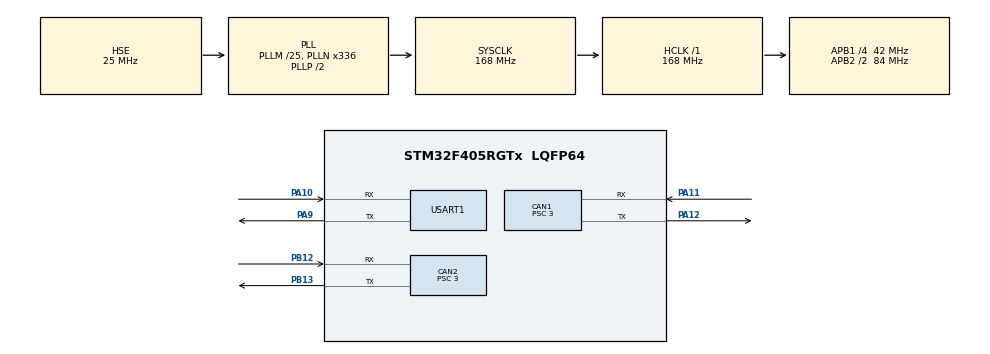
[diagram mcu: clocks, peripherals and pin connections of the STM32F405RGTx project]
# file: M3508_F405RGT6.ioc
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CAN1.BS1=CAN_BS1_10TQ
CAN1.BS2=CAN_BS2_3TQ
CAN1.CalculateBaudRate=1000000
CAN1.CalculateTimeBit=1000
CAN1.CalculateTimeQuantum=71.42857142857143
CAN1.Prescaler=3
CAN2.BS1=CAN_BS1_10TQ
CAN2.BS2=CAN_BS2_3TQ
CAN2.CalculateBaudRate=1000000
CAN2.CalculateTimeBit=1000
CAN2.CalculateTimeQuantum=71.42857142857143
CAN2.Prescaler=3
Mcu.Family=STM32F4
Mcu.Name=STM32F405RGTx
Mcu.Package=LQFP64
NVIC.CAN1_RX0_IRQn=true\:0\:0\:false\:false\:true\:true\:true\:true
NVIC.PriorityGroup=NVIC_PRIORITYGROUP_4
NVIC.TIM1_UP_TIM10_IRQn=true\:15\:0\:false\:false\:true\:false\:true\:true
NVIC.TimeBase=TIM1_UP_TIM10_IRQn
NVIC.TimeBaseIP=TIM1
NVIC.USART1_IRQn=true\:0\:0\:false\:false\:true\:true\:true\:true
PA10.Mode=Asynchronous
PA10.Signal=USART1_RX
PA11.Mode=CAN_Activate
PA11.Signal=CAN1_RX
PA12.Mode=CAN_Activate
PA12.Signal=CAN1_TX
PA13.Mode=Serial_Wire
PA13.Signal=SYS_JTMS-SWDIO
PA14.Mode=Serial_Wire
PA14.Signal=SYS_JTCK-SWCLK
PA9.Mode=Asynchronous
PA9.Signal=USART1_TX
PB12.Mode=CAN_Activate
PB12.Signal=CAN2_RX
PB13.Mode=CAN_Activate
PB13.Signal=CAN2_TX
PH0-OSC_IN.Mode=HSE-External-Oscillator
PH0-OSC_IN.Signal=RCC_OSC_IN
PH1-OSC_OUT.Mode=HSE-External-Oscillator
PH1-OSC_OUT.Signal=RCC_OSC_OUT
ProjectManager.HeapSize=0x200
ProjectManager.StackSize=0x400
ProjectManager.TargetToolchain=STM32CubeIDE
RCC.48MHZClocksFreq_Value=84000000
RCC.AHBFreq_Value=168000000
RCC.APB1CLKDivider=RCC_HCLK_DIV4
RCC.APB1Freq_Value=42000000
RCC.APB1TimFreq_Value=84000000
RCC.APB2CLKDivider=RCC_HCLK_DIV2
RCC.APB2Freq_Value=84000000
RCC.APB2TimFreq_Value=168000000
RCC.CortexFreq_Value=168000000
RCC.HCLKFreq_Value=168000000
RCC.HSE_VALUE=25000000
RCC.HSI_VALUE=16000000
RCC.LSE_VALUE=32768
RCC.PLLM=25
RCC.PLLN=336
RCC.PLLSourceVirtual=RCC_PLLSOURCE_HSE
RCC.SYSCLKFreq_VALUE=168000000
RCC.SYSCLKSource=RCC_SYSCLKSOURCE_PLLCLK
RCC.VCOOutputFreq_Value=336000000
USART1.VirtualMode=VM_ASYNC
VP_SYS_VS_tim1.Mode=TIM1
board=custom

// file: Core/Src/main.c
/* USER CODE BEGIN Header */
/**
  ******************************************************************************
  * @file           : main.c
  * @brief          : Main program body
  ******************************************************************************
  * @attention
  *
  * Copyright (c) 2023 STMicroelectronics.
  * All rights reserved.
  *
  * This software is licensed under terms that can be found in the LICENSE file
  * in the root directory of this software component.
  * If no LICENSE file comes with this software, it is provided AS-IS.
  *
  ******************************************************************************
  */
/* USER CODE END Header */
#include "main.h"
#include "can.h"
#include "usart.h"
#include "gpio.h"

/* USER CODE BEGIN Includes */
#include "PID.h"
#include "CAN_Recv.h"
#include "math.h"
#include "ADRC.h"
#define PI 3.1415
/* USER CODE END Includes */

void SystemClock_Config(void);

/* USER CODE BEGIN 0 */

//目标角度
float target_pos=420;
//目标速度
float target_spd=1000;
//速度环pid参数
float kp_speed=0.25;
float ki_speed=0.025;
float kd_speed=1;
//位置环pid参数
float kp_angle=5;
float ki_angle=0;
float kd_angle=0;

/* USER CODE END 0 */

int main(void)
{
  /* USER CODE BEGIN 1 */

//    float x[49]={0,PI/24,PI/12,3*PI/24,2*PI/12,5*PI/24,3*PI/12,7*PI/24,4*PI/12,9*PI/24,
//                 5*PI/12,11*PI/24,6*PI/12,13*PI/24,7*PI/12,15*PI/24,8*PI/12,17*PI/24,9*PI/12,
//                 19*PI/24,10*PI/12,21*PI/24,11*PI/12,23*PI/24,PI,25*PI/24,13*PI/12,27*PI/24,
//                 14*PI/12,29*PI/24,15*PI/12,31*PI/24,16*PI/12,33*PI/24,17*PI/12,35*PI/24,18*PI/12,
//                 37*PI/24,19*PI/12,39*PI/24,20*PI/12,41*PI/24,21*PI/12,43*PI/24,22*PI/12,45*PI/24,
//                 23*PI/12,47*PI/24,24*PI/12};

//      for(int i=0;i<49;i++)
//      {
//          target_vofa=2000*sin(x[i]);
//      }
  /* USER CODE END 1 */

  /* MCU Configuration--------------------------------------------------------*/

  /* Reset of all peripherals, Initializes the Flash interface and the Systick. */
  HAL_Init();

  /* Configure the system clock */
  SystemClock_Config();

  /* Initialize all configured peripherals */
  MX_GPIO_Init();
  MX_CAN1_Init();
  MX_CAN2_Init();
  MX_USART1_UART_Init();
  /* USER CODE BEGIN 2 */
  can_filter_init();

  /** ADRC算法参数设定 **/
  setCtrlParm(&ADRC_Ctrl,80,320,15,0.2);
  setClampParm(&ADRC_Ctrl,16383,-16383);

/*************************************/
  /** 调正弦曲线数学公式 **/
  int32_t time_ms=0;
  int32_t time_s=0;
  float spd=0;
  float w=2.0;    //(1.884~2.000)
  float a=1.0;    //(0.780~1.045)
  float b = 2.090 - a;
  time_ms = HAL_GetTick();//获取系统时间，单位ms
  time_s = (int) time_ms * pow(10,-3);

  spd = (a * sin(w * time_s) + b* 9.55); //单位换算成RPM
  // 1圈（Revolutions） = 2 * 3.1415弧度（Rad）
  // 1 Rad/sec = 60*1/(2*3.1415) Rev/min = 9.55 RPM
/*************************************/

  /* USER CODE END 2 */

  /* Infinite loop */
  /* USER CODE BEGIN WHILE */
  while (1)
  {
      /** Task1 Speed Loop **/
      //Pid_Speed(target_spd,target_spd,target_spd,target_spd);

      /** Task2 Pos Loop  **/
      //Pid_RM(target_pos,target_pos,target_pos,target_pos);

      /** Task3 ADRC Loop **/
      ADRC_Speed(target_spd,target_spd,target_spd,target_spd);

      /** Task4 Printf    **/
      usart_printf("%.0f,%.0f,%.0f,%.0f\r\n",target_spd,pid_rpm[0].measure,pid_rpm[0].measure,pid_rpm[0].output);
    /* USER CODE END WHILE */

  }
}

void SystemClock_Config(void)
{
  RCC_OscInitTypeDef RCC_OscInitStruct = {0};
  RCC_ClkInitTypeDef RCC_ClkInitStruct = {0};

  /** Configure the main internal regulator output voltage
  */
  __HAL_RCC_PWR_CLK_ENABLE();
  __HAL_PWR_VOLTAGESCALING_CONFIG(PWR_REGULATOR_VOLTAGE_SCALE1);

  /** Initializes the RCC Oscillators according to the specified parameters
  * in the RCC_OscInitTypeDef structure.
  */
  RCC_OscInitStruct.OscillatorType = RCC_OSCILLATORTYPE_HSE;
  RCC_OscInitStruct.HSEState = RCC_HSE_ON;
  RCC_OscInitStruct.PLL.PLLState = RCC_PLL_ON;
  RCC_OscInitStruct.PLL.PLLSource = RCC_PLLSOURCE_HSE;
  RCC_OscInitStruct.PLL.PLLM = 25;
  RCC_OscInitStruct.PLL.PLLN = 336;
  RCC_OscInitStruct.PLL.PLLP = RCC_PLLP_DIV2;
  RCC_OscInitStruct.PLL.PLLQ = 4;
  if (HAL_RCC_OscConfig(&RCC_OscInitStruct) != HAL_OK)
  {
    Error_Handler();
  }

  /** Initializes the CPU, AHB and APB buses clocks
  */
  RCC_ClkInitStruct.ClockType = RCC_CLOCKTYPE_HCLK|RCC_CLOCKTYPE_SYSCLK
                              |RCC_CLOCKTYPE_PCLK1|RCC_CLOCKTYPE_PCLK2;
  RCC_ClkInitStruct.SYSCLKSource = RCC_SYSCLKSOURCE_PLLCLK;
  RCC_ClkInitStruct.AHBCLKDivider = RCC_SYSCLK_DIV1;
  RCC_ClkInitStruct.APB1CLKDivider = RCC_HCLK_DIV4;
  RCC_ClkInitStruct.APB2CLKDivider = RCC_HCLK_DIV2;

  if (HAL_RCC_ClockConfig(&RCC_ClkInitStruct, FLASH_LATENCY_5) != HAL_OK)
  {
    Error_Handler();
  }
}

void HAL_TIM_PeriodElapsedCallback(TIM_HandleTypeDef *htim)
{
  if (htim->Instance == TIM1) {
    HAL_IncTick();
  }
}

void Error_Handler(void)
{
  __disable_irq();
  while (1)
  {
  }
}
